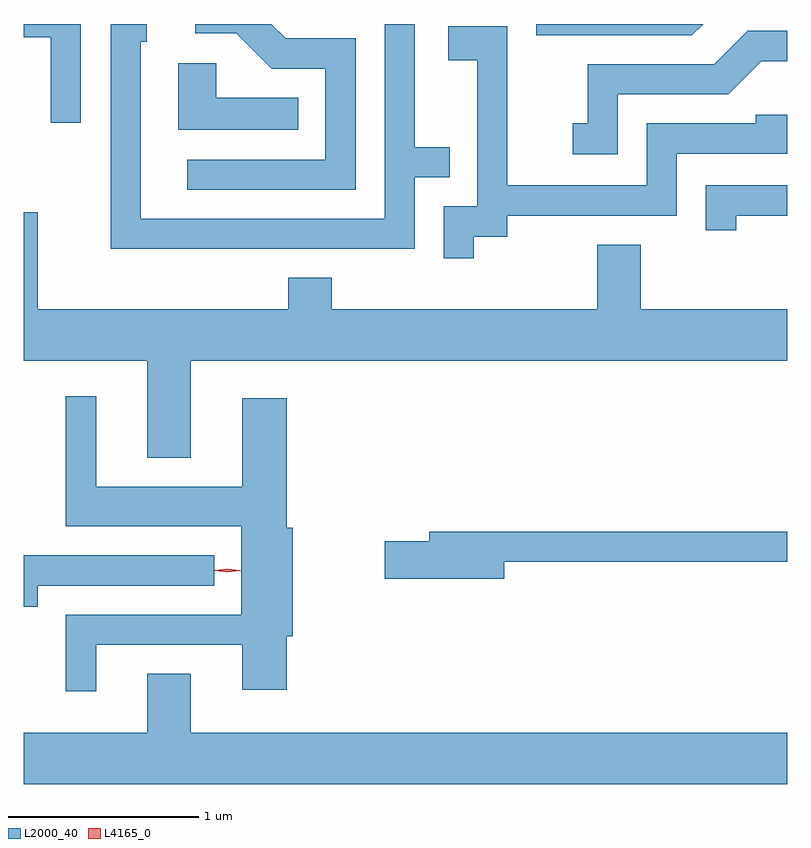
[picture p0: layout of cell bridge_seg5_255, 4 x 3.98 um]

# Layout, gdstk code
import gdstk
lib = gdstk.Library(unit=1e-6, precision=1e-09)
def P(c, l, *ps):  # polygons
    for p in ps: c.add(gdstk.Polygon(p, *l))
L2000_40 = (2000, 40)
L4165_0 = (4165, 0)

bridge_seg5_255 = lib.new_cell('bridge_seg5_255')
P(bridge_seg5_255, L2000_40, [(931.064,1485.124),(930.697,1485.124),(930.621,1485.2),(930.223,1485.2),(930.223,1485.151),(930.439,1485.151),(930.624,1484.966),(930.906,1484.966),(930.906,1484.489),(930.183,1484.489),(930.183,1484.331),(931.064,1484.331)],
  [(929.624,1485.2),(929.326,1485.2),(929.326,1485.131),(929.466,1485.131),(929.466,1484.683),(929.624,1484.683)],
  [(932.886,1485.2),(932.011,1485.2),(932.011,1485.141),(932.827,1485.141)],
  [(931.374,1484.396),(931.558,1484.396),(931.558,1484.554),(931.374,1484.554),(931.374,1485.2),(931.216,1485.2),(931.216,1484.179),(929.939,1484.179),(929.939,1485.106),(929.969,1485.106),(929.969,1485.2),(929.781,1485.2),(929.781,1484.021),(931.374,1484.021)],
  [(931.684,1484.086),(931.859,1484.086),(931.859,1484.196),(932.749,1484.196),(932.749,1484.521),(933.326,1484.521),(933.326,1484.724),(933.161,1484.724),(933.161,1484.679),(932.591,1484.679),(932.591,1484.354),(931.859,1484.354),(931.859,1485.189),(931.551,1485.189),(931.551,1485.011),(931.701,1485.011),(931.701,1484.244),(931.526,1484.244),(931.526,1483.973),(931.684,1483.973)],
  [(932.439,1484.831),(933.017,1484.831),(933.192,1485.006),(933.326,1485.006),(933.326,1485.164),(933.119,1485.164),(932.944,1484.989),(932.281,1484.989),(932.281,1484.679),(932.203,1484.679),(932.203,1484.516),(932.439,1484.516)],
  [(930.763,1484.814),(930.334,1484.814),(930.334,1484.994),(930.136,1484.994),(930.136,1484.646),(930.763,1484.646)],
  [(933.059,1484.196),(933.326,1484.196),(933.326,1484.354),(932.901,1484.354),(932.901,1484.118),(933.059,1484.118)],
  [(930.199,1483.436),(933.326,1483.436),(933.326,1483.704),(932.559,1483.704),(932.559,1484.044),(932.331,1484.044),(932.331,1483.704),(930.939,1483.704),(930.939,1483.869),(930.711,1483.869),(930.711,1483.704),(929.399,1483.704),(929.399,1484.214),(929.326,1484.214),(929.326,1483.436),(929.971,1483.436),(929.971,1482.926),(930.199,1482.926)],
  [(929.704,1481.946),(930.471,1481.946),(930.471,1481.711),(930.704,1481.711),(930.704,1481.991),(930.734,1481.991),(930.734,1482.559),(930.704,1482.559),(930.704,1483.239),(930.471,1483.239),(930.471,1482.774),(929.704,1482.774),(929.704,1483.248),(929.546,1483.248),(929.546,1482.566),(930.466,1482.566),(930.466,1482.104),(929.546,1482.104),(929.546,1481.703),(929.704,1481.703)],
  [(931.844,1482.381),(933.326,1482.381),(933.326,1482.539),(931.451,1482.539),(931.451,1482.489),(931.216,1482.489),(931.216,1482.291),(931.844,1482.291)],
  [(929.399,1482.256),(930.323,1482.256),(930.323,1482.414),(929.326,1482.414),(929.326,1482.146),(929.399,1482.146)],
  [(933.326,1481.484),(930.199,1481.484),(930.199,1481.794),(929.971,1481.794),(929.971,1481.484),(929.326,1481.484),(929.326,1481.216),(933.326,1481.216)])
P(bridge_seg5_255, L4165_0, [(930.392,1482.325),(930.327,1482.334),(930.327,1482.335),(930.327,1482.336),(930.392,1482.345),(930.457,1482.336),(930.457,1482.335),(930.457,1482.334)],
  [(930.393,1482.325),(930.324,1482.334),(930.324,1482.335),(930.324,1482.336),(930.393,1482.344),(930.461,1482.335),(930.462,1482.334),(930.461,1482.334)])

lib.write_gds('bridge_seg5_255.gds')
